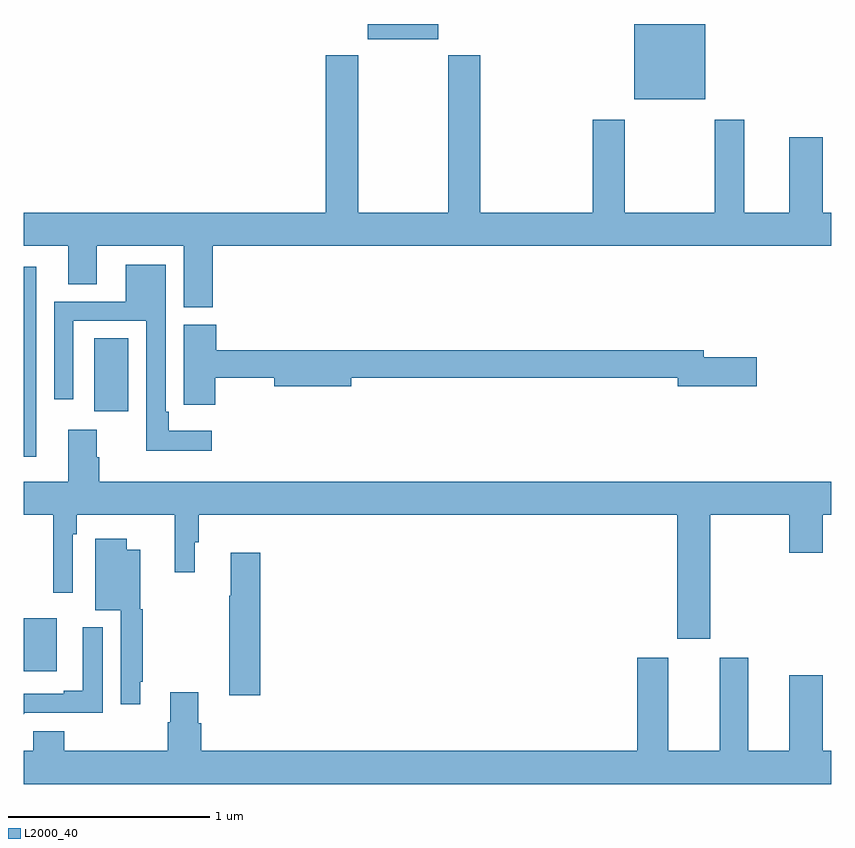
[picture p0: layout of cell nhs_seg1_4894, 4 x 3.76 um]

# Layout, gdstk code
import gdstk
lib = gdstk.Library(unit=1e-6, precision=1e-09)
def R(c, l, rs):  # rectangles x0, y0, x1, y1
    for r in rs: c.add(gdstk.rectangle(r[:2], r[2:], *l))
def P(c, l, *ps):  # polygons
    for p in ps: c.add(gdstk.Polygon(p, *l))
L2000_40 = (2000, 40)

nhs_seg1_4894 = lib.new_cell('nhs_seg1_4894')
R(nhs_seg1_4894, L2000_40, [(377,514.994,377.164,515.257), (377,516.057,377.062,516.996), (377.351,516.282,377.518,516.644), (380.024,517.826,380.374,518.199), (378.704,518.123,379.054,518.199)])
P(nhs_seg1_4894, L2000_40, [(377.936,517.1),(381,517.1),(381,517.264),(380.956,517.264),(380.956,517.639),(380.792,517.639),(380.792,517.264),(380.569,517.264),(380.569,517.726),(380.422,517.726),(380.422,517.264),(379.977,517.264),(379.977,517.726),(379.817,517.726),(379.817,517.264),(379.262,517.264),(379.262,518.044),(379.102,518.044),(379.102,517.264),(378.657,517.264),(378.657,518.044),(378.497,518.044),(378.497,517.264),(377,517.264),(377,517.1),(377.222,517.1),(377.222,516.91),(377.362,516.91),(377.362,517.1),(377.792,517.1),(377.792,516.796),(377.936,516.796)],
  [(377.932,516.184),(377.719,516.184),(377.719,516.28),(377.703,516.28),(377.703,517.006),(377.507,517.006),(377.507,516.825),(377.151,516.825),(377.151,516.342),(377.247,516.342),(377.247,516.729),(377.607,516.729),(377.607,516.086),(377.932,516.086)],
  [(377.949,516.448),(378.242,516.448),(378.242,516.406),(378.622,516.406),(378.622,516.448),(380.24,516.448),(380.24,516.406),(380.629,516.406),(380.629,516.548),(380.368,516.548),(380.368,516.584),(377.954,516.584),(377.954,516.711),(377.792,516.711),(377.792,516.427),(377.793,516.427),(377.793,516.315),(377.949,516.315)],
  [(380.401,515.768),(380.792,515.768),(380.792,515.58),(380.956,515.58),(380.956,515.768),(381,515.768),(381,515.932),(377.375,515.932),(377.375,516.053),(377.362,516.053),(377.362,516.19),(377.222,516.19),(377.222,515.932),(377,515.932),(377,515.768),(377.147,515.768),(377.147,515.382),(377.244,515.382),(377.244,515.672),(377.264,515.672),(377.264,515.768),(377.749,515.768),(377.749,515.484),(377.848,515.484),(377.848,515.634),(377.867,515.634),(377.867,515.768),(380.237,515.768),(380.237,515.154),(380.401,515.154)],
  [(377.578,514.942),(377.59,514.942),(377.59,515.301),(377.578,515.301),(377.578,515.596),(377.512,515.596),(377.512,515.65),(377.354,515.65),(377.354,515.297),(377.481,515.297),(377.481,514.83),(377.578,514.83)],
  [(378.173,515.581),(378.026,515.581),(378.026,515.368),(378.019,515.368),(378.019,514.875),(378.173,514.875)],
  [(377.007,514.788),(377.391,514.788),(377.391,515.212),(377.294,515.212),(377.294,514.897),(377.198,514.897),(377.198,514.884),(377,514.884),(377,514.781)],
  [(381,514.6),(380.956,514.6),(380.956,514.975),(380.792,514.975),(380.792,514.6),(380.587,514.6),(380.587,515.062),(380.447,515.062),(380.447,514.6),(380.191,514.6),(380.191,515.062),(380.039,515.062),(380.039,514.6),(377.879,514.6),(377.879,514.737),(377.866,514.737),(377.866,514.891),(377.726,514.891),(377.726,514.742),(377.714,514.742),(377.714,514.6),(377.201,514.6),(377.201,514.698),(377.049,514.698),(377.049,514.6),(377,514.6),(377,514.436),(381,514.436)])

lib.write_gds('nhs_seg1_4894.gds')
